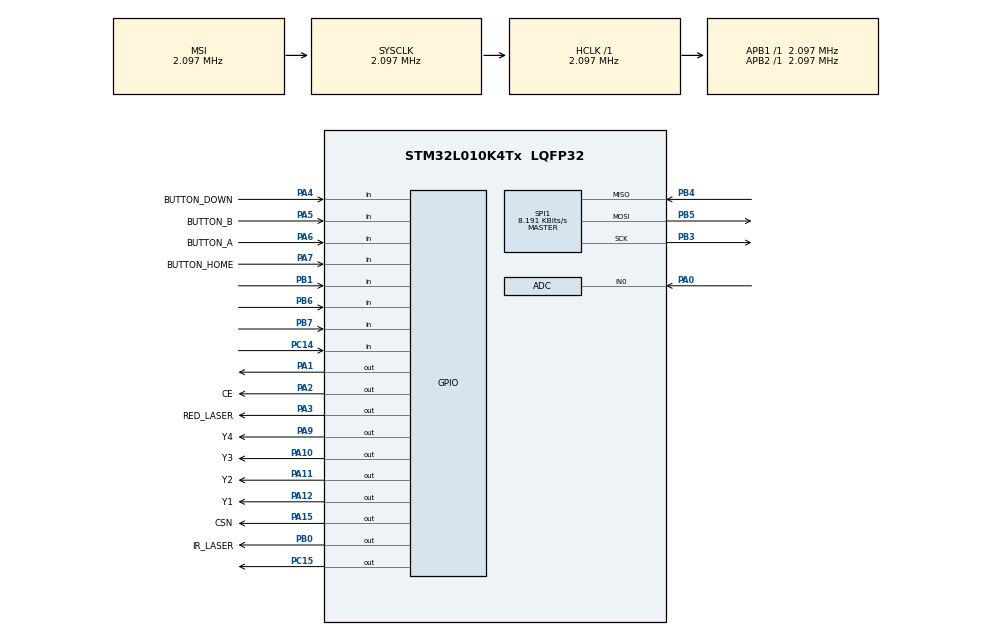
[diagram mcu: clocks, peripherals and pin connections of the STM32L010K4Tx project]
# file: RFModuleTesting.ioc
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Mcu.Family=STM32L0
RCC.MSI_VALUE=2097000
SPI1.VirtualType=VM_MASTER
PA0-CK_IN.Mode=IN0
PA9.GPIO_Label=Y4
PA11.GPIO_Label=Y2
PA6.GPIO_Label=BUTTON_A
PB0.GPIO_Label=IR_LASER
PC14-OSC32_IN.Signal=GPIO_Input
PA12.GPIO_Label=Y1
ProjectManager.StackSize=0x400
RCC.HSI16_VALUE=16000000
PA15.GPIO_Label=CSN
PA12.Signal=GPIO_Output
ProjectManager.TargetToolchain=STM32CubeIDE
SPI1.Direction=SPI_DIRECTION_2LINES
RCC.APB2TimFreq_Value=2097000
PA9.Signal=GPIO_Output
PB6.Signal=GPIO_Input
SPI1.CalculateBaudRate=8.191 KBits/s
RCC.LSE_VALUE=32768
PC15-OSC32_OUT.Signal=GPIO_Output
PA1.Signal=GPIO_Output
RCC.AHBFreq_Value=2097000
PA5.Signal=GPIO_Input
RCC.HSE_VALUE=8000000
PB3.Mode=Full_Duplex_Master
board=custom
RCC.VCOOutputFreq_Value=48000000
PA0-CK_IN.Signal=ADC_IN0
RCC.APB2Freq_Value=2097000
PB4.Mode=Full_Duplex_Master
SPI1.Mode=SPI_MODE_MASTER
PB5.Mode=Full_Duplex_Master
PA10.GPIO_Label=Y3
PB7.Signal=GPIO_Input
Mcu.Name=STM32L010K4Tx
PA2.Signal=GPIO_Output
PB3.Signal=SPI1_SCK
PA4.Signal=GPIO_Input
RCC.SYSCLKFreq_VALUE=2097000
Mcu.Package=LQFP32
PB5.Signal=SPI1_MOSI
PA6.Signal=GPIO_Input
PB1.Signal=GPIO_Input
PA7.GPIO_Label=BUTTON_HOME
PA5.GPIO_Label=BUTTON_B
PA2.GPIO_Label=CE
PA11.Signal=GPIO_Output
PA10.Signal=GPIO_Output
PA15.Signal=GPIO_Output
ProjectManager.HeapSize=0x200
RCC.HSI_VALUE=16000000
RCC.APB1TimFreq_Value=2097000
RCC.APB1Freq_Value=2097000
SPI1.BaudRatePrescaler=SPI_BAUDRATEPRESCALER_256
PB0.Signal=GPIO_Output
PA4.GPIO_Label=BUTTON_DOWN
PB4.Signal=SPI1_MISO
PA3.GPIO_Label=RED_LASER
PA3.Signal=GPIO_Output
PA7.Signal=GPIO_Input

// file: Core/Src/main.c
/* USER CODE BEGIN Header */
/**
******************************************************************************
* @file           : main.c
* @brief          : Main program body
******************************************************************************
* @attention
*
* <h2><center>&copy; Copyright (c) 2021 STMicroelectronics.
* All rights reserved.</center></h2>
*
* This software component is licensed by ST under BSD 3-Clause license,
* the "License"; You may not use this file except in compliance with the
* License. You may obtain a copy of the License at:
*                        opensource.org/licenses/BSD-3-Clause
*
******************************************************************************
*/
/* USER CODE END Header */
#include "main.h"

/* USER CODE BEGIN Includes */
#include "MY_NRF24.h"
/* USER CODE END Includes */

/* USER CODE BEGIN PD */
#define USB_ADDR 0x11223344AA
#define PI_ADDR 0x5566778899

#define RX_ADDR 0x4444444444
#define CHANNEL 120
#define RX_PIPE 1
#define PAYLOAD_SIZE 5

#define RF_CLICK_LEFT 0x01
#define RF_CLICK_RIGHT 0x02
#define RF_CLICK_LEFT_RELEASE 0x03
#define RF_CLICK_RIGHT_RELEASE 0x04

#define RF_CALIBRATE_START 0x10
#define RF_CALIBRATE_CORNER 0x11
#define RF_COMMAND_LASER_ON 0x12
#define RF_CALIBRATE_CORNER_RESULT 0x13
#define RF_CALIBRATE_EXIT 0x14
#define RF_CALIBRATE_RESULT 0X15
#define RF_CALIBRATE_FAIL 0x00
#define RF_GET_BASE 0x30

#define RF_LASERS_ON 0x20
#define RF_LASERS_OFF 0x21
#define RF_IR_ON 0x22
#define RF_IR_OFF 0x23
/* USER CODE END PD */

ADC_HandleTypeDef hadc;

SPI_HandleTypeDef hspi1;

void SystemClock_Config(void);
static void MX_GPIO_Init(void);
static void MX_SPI1_Init(void);
static void MX_ADC_Init(void);

/* USER CODE BEGIN 0 */
void read_regs()
{
  uint8_t config = NRF24_read_register(REG_CONFIG);
  uint8_t en_aa = NRF24_read_register(REG_EN_AA);
  uint8_t en_rxaddr = NRF24_read_register(REG_EN_RXADDR);
  uint8_t setup_aw = NRF24_read_register(REG_SETUP_AW);
  uint8_t setup_retr = NRF24_read_register(REG_SETUP_RETR);
  uint8_t ch = NRF24_read_register(REG_RF_CH);
  uint8_t rf_setup = NRF24_read_register(REG_RF_SETUP);

  uint8_t dynpd = NRF24_read_register(REG_DYNPD);
  uint8_t feature = NRF24_read_register(REG_FEATURE);

  uint8_t pipe0_addr[5];
  NRF24_read_registerN(0x0A, pipe0_addr, 5);

  uint8_t pipe1_addr[5];
  NRF24_read_registerN(0x0A+1, pipe0_addr, 5);
  uint8_t a = pipe0_addr[4];
  return;
}

void reset_packages_lost()
{
	NRF24_ce(0);
	NRF24_setChannel(CHANNEL-1);
	HAL_Delay(100);
	NRF24_setChannel(CHANNEL);
	HAL_Delay(100);
	NRF24_ce(1);
}

void send_RF_packet(uint8_t command, uint64_t addr)
{
  uint8_t tx_data[5] = "Hello";
  tx_data[0] = command;
  NRF24_stopListening();

  NRF24_openWritingPipe(addr);

  NRF24_write(tx_data,5);
  HAL_Delay(50);
  NRF24_write(tx_data,5);
  HAL_Delay(50);
  NRF24_write(tx_data,5);
  HAL_Delay(50);
  NRF24_write(tx_data,5);
  HAL_Delay(50);
  NRF24_write(tx_data,5);
  HAL_Delay(50);

  return;
}

void send_RF_corner(uint8_t corner_num)
{
  uint8_t tx_data[5] = "Hello";
  tx_data[0] = RF_CALIBRATE_CORNER;
  tx_data[1] = corner_num;
  NRF24_stopListening();

  NRF24_openWritingPipe(PI_ADDR);

  NRF24_write(tx_data,5);
  HAL_Delay(50);
  NRF24_write(tx_data,5);
  HAL_Delay(50);
  NRF24_write(tx_data,5);
  HAL_Delay(50);
  NRF24_write(tx_data,5);
  HAL_Delay(50);
  NRF24_write(tx_data,5);
  HAL_Delay(50);

  return;
}

void corner(uint16_t led_number, int payloadSize, int corner_num) {
	// Turn on LED while processing this corner
	HAL_GPIO_WritePin(GPIOA, led_number, GPIO_PIN_SET);

	// wait for DOWN press, then debounce
	while(HAL_GPIO_ReadPin(BUTTON_DOWN_GPIO_Port, BUTTON_DOWN_Pin) == 0);
	HAL_Delay(100);
	// turn laser on, sending GET_BASE, delaying, and LASER_ON
	send_RF_packet(RF_GET_BASE, PI_ADDR); // Send that the lasers are about to toggle
	HAL_Delay(500); // delay, instead of ACK
	send_RF_packet(RF_LASERS_ON, PI_ADDR);

	HAL_GPIO_WritePin(RED_LASER_GPIO_Port, RED_LASER_Pin, GPIO_PIN_SET); // Turn red laser ON
	HAL_GPIO_WritePin(IR_LASER_GPIO_Port, IR_LASER_Pin, GPIO_PIN_SET); // Turn IR laser ON

	// wait for B to send CORNER
	while(HAL_GPIO_ReadPin(BUTTON_HOME_GPIO_Port, BUTTON_HOME_Pin) == 0);
	// THen send calibration signals
	send_RF_corner(corner_num);

	HAL_Delay(500); // delay, instead of ACK

	// turn laser off
	send_RF_packet(RF_LASERS_OFF, PI_ADDR);

  HAL_GPIO_WritePin(RED_LASER_GPIO_Port, RED_LASER_Pin, GPIO_PIN_RESET); // Turn red laser ON
  HAL_GPIO_WritePin(IR_LASER_GPIO_Port, IR_LASER_Pin, GPIO_PIN_RESET); // Turn IR laser ON

  HAL_GPIO_WritePin(GPIOA, led_number, GPIO_PIN_RESET);
  HAL_Delay(100);
}

/* USER CODE END 0 */

int main(void)
{

  /* MCU Configuration--------------------------------------------------------*/

  /* Reset of all peripherals, Initializes the Flash interface and the Systick. */
  HAL_Init();

  /* Configure the system clock */
  SystemClock_Config();

  /* Initialize all configured peripherals */
  MX_GPIO_Init();
  MX_SPI1_Init();
  MX_ADC_Init();
  /* USER CODE BEGIN 2 */
  NRF24_begin(CSN_GPIO_Port, CSN_Pin, CE_Pin, hspi1);

  int LASER_ON = 0;

  NRF24_stopListening();
  NRF24_openWritingPipe(PI_ADDR);
  NRF24_setAutoAck(true);
  NRF24_setChannel(CHANNEL);
  NRF24_setPayloadSize(PAYLOAD_SIZE);
  NRF24_setDataRate(RF24_250KBPS);
  //NRF24_write(myTxData, 5);
  //send_RF_packet(RF_GET_BASE, PI_ADDR);
  //send_RF_packet(RF_CLICK_LEFT, USB_ADDR);
  HAL_Delay(250);
  //send_RF_packet(RF_CLICK_LEFT_RELEASE, USB_ADDR);
  //read_regs();

  uint16_t raw;

  /* USER CODE END 2 */

  /* Infinite loop */
  while (1)
  {

    /* USER CODE BEGIN 3 */
    //	  if (NRF24_available()) {
    //		  HAL_GPIO_TogglePin(GPIOA, GPIO_PIN_10);
    //		  NRF24_read(rxdata, PAYLOAD_SIZE);
    //		  uint8_t msg =rxdata[0];
    //		  HAL_Delay(250);
    //	  }
    //	  else {
    //		  HAL_GPIO_TogglePin(GPIOA, GPIO_PIN_9);
    //		  read_regs();
    //		  HAL_Delay(250);
    //
    //	  }

    //		if(NRF24_write(myTxData, 5))
    //		{
    //			  HAL_GPIO_TogglePin(GPIOA, GPIO_PIN_10);
    //			  HAL_Delay(500);
    //		}
    //
    //		  HAL_GPIO_TogglePin(GPIOA, GPIO_PIN_9);
    //		HAL_Delay(250);

    if (HAL_GPIO_ReadPin(GPIOA, GPIO_PIN_4))
    {
      HAL_GPIO_WritePin(GPIOA, GPIO_PIN_12, GPIO_PIN_SET);	//Turn on yellow pin
      HAL_Delay(100); // debounce

      if (LASER_ON) {
		send_RF_packet(RF_LASERS_OFF, PI_ADDR); // Send that the lasers are about to toggle
		LASER_ON = 0;
		HAL_GPIO_WritePin(GPIOA, GPIO_PIN_3, GPIO_PIN_RESET); // Turn red laser ON
		HAL_GPIO_WritePin(GPIOB, GPIO_PIN_0, GPIO_PIN_RESET); // Turn IR laser ON
      }
      else {
		send_RF_packet(RF_GET_BASE, PI_ADDR); // Send that the lasers are about to turn on
		LASER_ON = 1;
		HAL_GPIO_WritePin(GPIOA, GPIO_PIN_3, GPIO_PIN_SET); // Turn red laser ON
		HAL_GPIO_WritePin(GPIOB, GPIO_PIN_0, GPIO_PIN_SET); // Turn IR laser ON
		send_RF_packet(RF_LASERS_ON, PI_ADDR); // Send that the lasers are on

      }
      HAL_Delay(1000);
      HAL_GPIO_WritePin(GPIOA, GPIO_PIN_12, GPIO_PIN_RESET); // Turn off yellow 4

      HAL_Delay(1000);

    }

    // A is PA6
    if (HAL_GPIO_ReadPin(GPIOA, GPIO_PIN_6))
    {
      send_RF_packet(RF_CLICK_LEFT, USB_ADDR); // Send left click
      //send_RF_packet(RF_GET_BASE, PI_ADDR); // Send left click
      HAL_GPIO_WritePin(GPIOA, GPIO_PIN_12, GPIO_PIN_SET); // Turn off yellow 4
      HAL_Delay(500);
      while (HAL_GPIO_ReadPin(GPIOA, GPIO_PIN_6)) {
        HAL_Delay(100);
      }
      send_RF_packet(RF_CLICK_LEFT_RELEASE, USB_ADDR);
      HAL_GPIO_WritePin(GPIOA, GPIO_PIN_12, GPIO_PIN_RESET); // Turn off yellow 4
      HAL_Delay(100);
    }

    // B is PA5
    if (HAL_GPIO_ReadPin(GPIOA, GPIO_PIN_5))
    {
      send_RF_packet(RF_CLICK_RIGHT, USB_ADDR); // Send right click
      HAL_Delay(100);
      while (HAL_GPIO_ReadPin(GPIOA, GPIO_PIN_5)) {
        HAL_Delay(100);
      }
      send_RF_packet(RF_CLICK_RIGHT_RELEASE, USB_ADDR);
      HAL_Delay(100);
    }

    // 2 is PC14
    if (HAL_GPIO_ReadPin(GPIOC, GPIO_PIN_14))
    {
      // ADC stuff
      HAL_ADC_Start(&hadc);
      HAL_ADC_PollForConversion(&hadc, HAL_MAX_DELAY);
      raw = HAL_ADC_GetValue(&hadc);

      if (raw >= 2950) // red at 2950, green anywhere below that. 2.2 V
      {
        HAL_GPIO_WritePin(GPIOC, GPIO_PIN_15, GPIO_PIN_SET); // Turn on the green LEDs
      }
      else
      {
        HAL_GPIO_WritePin(GPIOA, GPIO_PIN_1, GPIO_PIN_SET); // Turn on the red LEDs
      }

      HAL_Delay(3000);
      HAL_GPIO_WritePin(GPIOC, GPIO_PIN_15, GPIO_PIN_RESET); // Turn off the red LEDs
      HAL_GPIO_WritePin(GPIOA, GPIO_PIN_1, GPIO_PIN_RESET); // Turn off the red LEDs
    }

    // 1 is PB7
    if (HAL_GPIO_ReadPin(GPIOB, GPIO_PIN_7))
    {

		if (LASER_ON) {
			send_RF_packet(RF_LASERS_OFF, PI_ADDR); // Send that the lasers are about to toggle
			HAL_Delay(250);
			LASER_ON = 0;
			HAL_GPIO_WritePin(RED_LASER_GPIO_Port, RED_LASER_Pin, GPIO_PIN_RESET); // Turn red laser OFF
			HAL_GPIO_WritePin(IR_LASER_GPIO_Port , IR_LASER_Pin , GPIO_PIN_RESET); // Turn IR  laser OFF
		}

      send_RF_packet(RF_CALIBRATE_START, PI_ADDR); // Send calibration mode

      // Press B on the top left corner of the screen
      corner(GPIO_PIN_12, PAYLOAD_SIZE, 1);
      corner(GPIO_PIN_11, PAYLOAD_SIZE, 2);
      corner(GPIO_PIN_10, PAYLOAD_SIZE, 3);
      corner(GPIO_PIN_9,  PAYLOAD_SIZE, 4);

      HAL_GPIO_WritePin(GPIOC, GPIO_PIN_15, GPIO_PIN_SET); // Turn on the green LEDs
      HAL_Delay(3000);
      HAL_GPIO_WritePin(GPIOC, GPIO_PIN_15, GPIO_PIN_RESET); // Turn off the red LEDs

      send_RF_packet(RF_CALIBRATE_EXIT, PI_ADDR); // Send calibration mode

    }

  }
  /* USER CODE END 3 */
}

void SystemClock_Config(void)
{
  RCC_OscInitTypeDef RCC_OscInitStruct = {0};
  RCC_ClkInitTypeDef RCC_ClkInitStruct = {0};

  /** Configure the main internal regulator output voltage
  */
  __HAL_PWR_VOLTAGESCALING_CONFIG(PWR_REGULATOR_VOLTAGE_SCALE1);
  /** Initializes the RCC Oscillators according to the specified parameters
  * in the RCC_OscInitTypeDef structure.
  */
  RCC_OscInitStruct.OscillatorType = RCC_OSCILLATORTYPE_MSI;
  RCC_OscInitStruct.MSIState = RCC_MSI_ON;
  RCC_OscInitStruct.MSICalibrationValue = 0;
  RCC_OscInitStruct.MSIClockRange = RCC_MSIRANGE_5;
  RCC_OscInitStruct.PLL.PLLState = RCC_PLL_NONE;
  if (HAL_RCC_OscConfig(&RCC_OscInitStruct) != HAL_OK)
  {
    Error_Handler();
  }
  /** Initializes the CPU, AHB and APB buses clocks
  */
  RCC_ClkInitStruct.ClockType = RCC_CLOCKTYPE_HCLK|RCC_CLOCKTYPE_SYSCLK
                              |RCC_CLOCKTYPE_PCLK1|RCC_CLOCKTYPE_PCLK2;
  RCC_ClkInitStruct.SYSCLKSource = RCC_SYSCLKSOURCE_MSI;
  RCC_ClkInitStruct.AHBCLKDivider = RCC_SYSCLK_DIV1;
  RCC_ClkInitStruct.APB1CLKDivider = RCC_HCLK_DIV1;
  RCC_ClkInitStruct.APB2CLKDivider = RCC_HCLK_DIV1;

  if (HAL_RCC_ClockConfig(&RCC_ClkInitStruct, FLASH_LATENCY_0) != HAL_OK)
  {
    Error_Handler();
  }
}

static void MX_ADC_Init(void)
{

  ADC_ChannelConfTypeDef sConfig = {0};

  /** Configure the global features of the ADC (Clock, Resolution, Data Alignment and number of conversion)
  */
  hadc.Instance = ADC1;
  hadc.Init.OversamplingMode = DISABLE;
  hadc.Init.ClockPrescaler = ADC_CLOCK_SYNC_PCLK_DIV1;
  hadc.Init.Resolution = ADC_RESOLUTION_12B;
  hadc.Init.SamplingTime = ADC_SAMPLETIME_1CYCLE_5;
  hadc.Init.ScanConvMode = ADC_SCAN_DIRECTION_FORWARD;
  hadc.Init.DataAlign = ADC_DATAALIGN_RIGHT;
  hadc.Init.ContinuousConvMode = DISABLE;
  hadc.Init.DiscontinuousConvMode = DISABLE;
  hadc.Init.ExternalTrigConvEdge = ADC_EXTERNALTRIGCONVEDGE_NONE;
  hadc.Init.ExternalTrigConv = ADC_SOFTWARE_START;
  hadc.Init.DMAContinuousRequests = DISABLE;
  hadc.Init.EOCSelection = ADC_EOC_SINGLE_CONV;
  hadc.Init.Overrun = ADC_OVR_DATA_PRESERVED;
  hadc.Init.LowPowerAutoWait = DISABLE;
  hadc.Init.LowPowerFrequencyMode = ENABLE;
  hadc.Init.LowPowerAutoPowerOff = DISABLE;
  if (HAL_ADC_Init(&hadc) != HAL_OK)
  {
    Error_Handler();
  }
  /** Configure for the selected ADC regular channel to be converted.
  */
  sConfig.Channel = ADC_CHANNEL_0;
  sConfig.Rank = ADC_RANK_CHANNEL_NUMBER;
  if (HAL_ADC_ConfigChannel(&hadc, &sConfig) != HAL_OK)
  {
    Error_Handler();
  }

}

static void MX_SPI1_Init(void)
{

  /* SPI1 parameter configuration*/
  hspi1.Instance = SPI1;
  hspi1.Init.Mode = SPI_MODE_MASTER;
  hspi1.Init.Direction = SPI_DIRECTION_2LINES;
  hspi1.Init.DataSize = SPI_DATASIZE_8BIT;
  hspi1.Init.CLKPolarity = SPI_POLARITY_LOW;
  hspi1.Init.CLKPhase = SPI_PHASE_1EDGE;
  hspi1.Init.NSS = SPI_NSS_SOFT;
  hspi1.Init.BaudRatePrescaler = SPI_BAUDRATEPRESCALER_256;
  hspi1.Init.FirstBit = SPI_FIRSTBIT_MSB;
  hspi1.Init.TIMode = SPI_TIMODE_DISABLE;
  hspi1.Init.CRCCalculation = SPI_CRCCALCULATION_DISABLE;
  hspi1.Init.CRCPolynomial = 7;
  if (HAL_SPI_Init(&hspi1) != HAL_OK)
  {
    Error_Handler();
  }

}

static void MX_GPIO_Init(void)
{
  GPIO_InitTypeDef GPIO_InitStruct = {0};

  /* GPIO Ports Clock Enable */
  __HAL_RCC_GPIOC_CLK_ENABLE();
  __HAL_RCC_GPIOA_CLK_ENABLE();
  __HAL_RCC_GPIOB_CLK_ENABLE();

  /*Configure GPIO pin Output Level */
  HAL_GPIO_WritePin(GPIOC, GPIO_PIN_15, GPIO_PIN_RESET);

  /*Configure GPIO pin Output Level */
  HAL_GPIO_WritePin(GPIOA, GPIO_PIN_1|CE_Pin|RED_LASER_Pin|Y4_Pin
                          |Y3_Pin|Y2_Pin|Y1_Pin|CSN_Pin, GPIO_PIN_RESET);

  /*Configure GPIO pin Output Level */
  HAL_GPIO_WritePin(IR_LASER_GPIO_Port, IR_LASER_Pin, GPIO_PIN_RESET);

  /*Configure GPIO pin : PC14 */
  GPIO_InitStruct.Pin = GPIO_PIN_14;
  GPIO_InitStruct.Mode = GPIO_MODE_INPUT;
  GPIO_InitStruct.Pull = GPIO_NOPULL;
  HAL_GPIO_Init(GPIOC, &GPIO_InitStruct);

  /*Configure GPIO pin : PC15 */
  GPIO_InitStruct.Pin = GPIO_PIN_15;
  GPIO_InitStruct.Mode = GPIO_MODE_OUTPUT_PP;
  GPIO_InitStruct.Pull = GPIO_NOPULL;
  GPIO_InitStruct.Speed = GPIO_SPEED_FREQ_LOW;
  HAL_GPIO_Init(GPIOC, &GPIO_InitStruct);

  /*Configure GPIO pins : PA1 CE_Pin RED_LASER_Pin Y4_Pin
                           Y3_Pin Y2_Pin Y1_Pin CSN_Pin */
  GPIO_InitStruct.Pin = GPIO_PIN_1|CE_Pin|RED_LASER_Pin|Y4_Pin
                          |Y3_Pin|Y2_Pin|Y1_Pin|CSN_Pin;
  GPIO_InitStruct.Mode = GPIO_MODE_OUTPUT_PP;
  GPIO_InitStruct.Pull = GPIO_NOPULL;
  GPIO_InitStruct.Speed = GPIO_SPEED_FREQ_LOW;
  HAL_GPIO_Init(GPIOA, &GPIO_InitStruct);

  /*Configure GPIO pins : BUTTON_DOWN_Pin BUTTON_B_Pin BUTTON_A_Pin BUTTON_HOME_Pin */
  GPIO_InitStruct.Pin = BUTTON_DOWN_Pin|BUTTON_B_Pin|BUTTON_A_Pin|BUTTON_HOME_Pin;
  GPIO_InitStruct.Mode = GPIO_MODE_INPUT;
  GPIO_InitStruct.Pull = GPIO_NOPULL;
  HAL_GPIO_Init(GPIOA, &GPIO_InitStruct);

  /*Configure GPIO pin : IR_LASER_Pin */
  GPIO_InitStruct.Pin = IR_LASER_Pin;
  GPIO_InitStruct.Mode = GPIO_MODE_OUTPUT_PP;
  GPIO_InitStruct.Pull = GPIO_NOPULL;
  GPIO_InitStruct.Speed = GPIO_SPEED_FREQ_LOW;
  HAL_GPIO_Init(IR_LASER_GPIO_Port, &GPIO_InitStruct);

  /*Configure GPIO pins : PB1 PB6 PB7 */
  GPIO_InitStruct.Pin = GPIO_PIN_1|GPIO_PIN_6|GPIO_PIN_7;
  GPIO_InitStruct.Mode = GPIO_MODE_INPUT;
  GPIO_InitStruct.Pull = GPIO_NOPULL;
  HAL_GPIO_Init(GPIOB, &GPIO_InitStruct);

}

void Error_Handler(void)
{
    __disable_irq();
    while (1)
    {
    }
}

/************************ (C) COPYRIGHT STMicroelectronics *****END OF FILE****/
